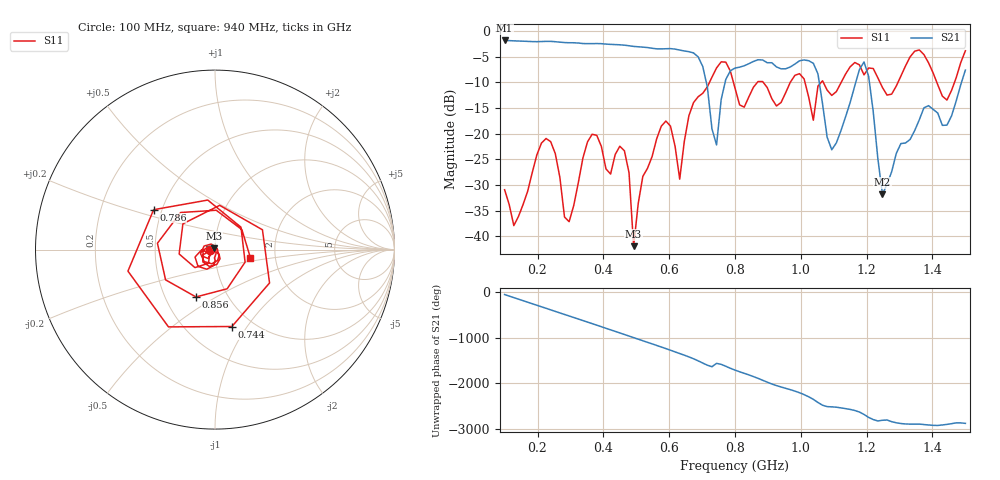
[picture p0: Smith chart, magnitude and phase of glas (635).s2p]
! NanoVNA-App
! Date: 2025-09-25 16:00:25
! Start: 100MHz Stop: 1,5GHz Points: 101
! S-Parameter data: F S11 S21 S12 S22
# Hz S RI R 50
!  Frequency  S11_Real  S11_Imag  S21_Real  S21_Imag  S12_Real  S12_Imag  S22_Real  S22_Imag
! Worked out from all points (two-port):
!   101 points, 100 MHz to 1.5 GHz, reference 50 ohm
!   highest |S21| = -1.80 dB at 100 MHz (marker M1); lowest = -31.8 dB at 1.248 GHz (marker M2)
!   |S21| within 3 dB of the highest: start of sweep to 684.4 MHz
!   lowest |S11| = -41.9 dB at 492 MHz (marker M3), VSWR 1.02, Z = 49.5 + j0.609 ohm
!   |S11| at or under -10 dB: start of sweep to 722.3 MHz; 795.4 MHz to 867.7 MHz (72.34 MHz wide, 8.7 % of centre); 886.1 MHz to 967.7 MHz (81.62 MHz wide, 8.81 % of centre) (the widest 3 of 7)
!   S12 and S22 are empty: the file has one direction only
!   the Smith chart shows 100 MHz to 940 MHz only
!   S11 on the Smith chart (normalised r, x): 100 MHz: 0.94, -0.01; 744 MHz: 0.80, -0.85; 786 MHz: 0.45, +0.24; 856 MHz: 0.71, -0.41; 940 MHz: 1.48, -0.14
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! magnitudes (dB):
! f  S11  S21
! 100 MHz  -30.9  -1.8
! 128 MHz  -37.9  -1.9
! 226 MHz  -20.9  -2.0
! 296 MHz  -37.2  -2.2
! 338 MHz  -24.7  -2.4
! 464 MHz  -23.3  -2.7
! 492 MHz  -41.9  -3.0
! 576 MHz  -18.5  -3.5
! 632 MHz  -28.9  -3.7
! 702 MHz  -12.1  -6.9
! 744 MHz  -7.2  -22.2
! 786 MHz  -7.8  -7.7
! 800 MHz  -11.1  -7.2
! 856 MHz  -10.9  -5.9
! 940 MHz  -13.9  -7.3
! 996 MHz  -8.3  -5.8
! 1.038 GHz  -17.4  -6.3
! 1.094 GHz  -12.5  -23.1
! 1.192 GHz  -8.5  -6.0
! 1.248 GHz  -11.0  -31.8
! 1.276 GHz  -12.3  -27.4
! 1.5 GHz  -3.8  -7.6
